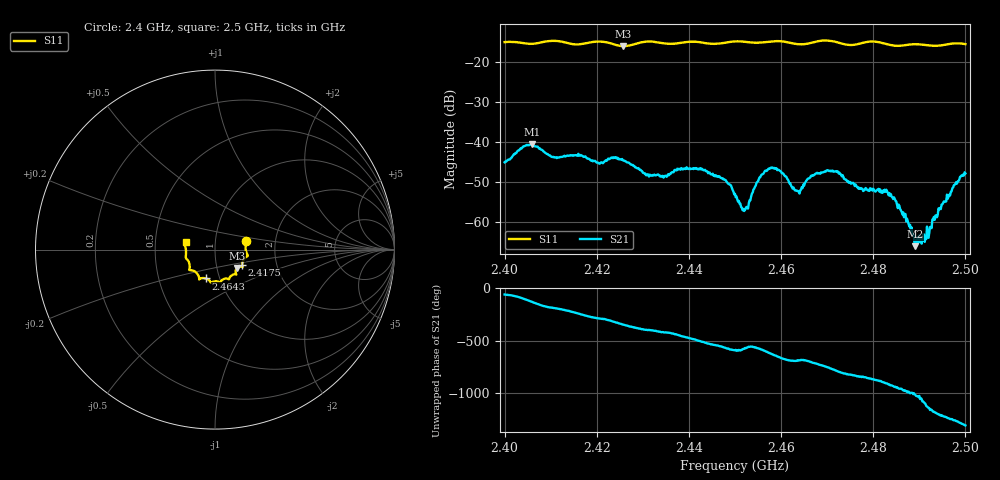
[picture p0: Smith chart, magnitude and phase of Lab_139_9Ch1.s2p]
# Hz S RI R 50
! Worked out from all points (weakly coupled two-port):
!   601 points, 2.4 GHz to 2.5 GHz, reference 50 ohm
!   highest |S21| = -40.56 dB at 2.406 GHz (marker M1); lowest = -66.1 dB at 2.489 GHz (marker M2)
!   lowest |S11| = -15.9 dB at 2.4257 GHz (marker M3), VSWR 1.38, Z = 62.5 - j13.1 ohm
!   |S11| at or under -10 dB: start of sweep to end of sweep
!   S12 and S22 are empty: the file has one direction only
!   S11 on the Smith chart (normalised r, x): 2.4 GHz: 1.41, +0.14; 2.4175 GHz: 1.34, -0.23; 2.4643 GHz: 0.86, -0.29; 2.5 GHz: 0.72, +0.06
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2.4e9  0.173 0.049  0.00296 -0.00475  0 0  0 0
2.406e9  0.1709 0.00158  -0.00586 -0.00732  0 0  0 0
2.410833e9  0.183 -0.035  -0.00637 0.000836  0 0  0 0
2.416667e9  0.1528 -0.074  -0.00252 0.00637  0 0  0 0
2.4175e9  0.1519 -0.0833  -0.00124 0.00653  0 0  0 0
2.425667e9  0.1228 -0.1021  0.00572 0.00149  0 0  0 0
2.433333e9  0.1131 -0.1372  0.00249 -0.00306  0 0  0 0
2.443e9  0.0699 -0.1624  -0.00397 -0.00219  0 0  0 0
2.447833e9  0.0359 -0.1728  -0.003 0.00151  0 0  0 0
2.45e9  0.029 -0.1812  -0.00145 0.00172  0 0  0 0
2.452333e9  0.021 -0.1796  -0.00128 0.000772  0 0  0 0
2.455167e9  0.000497 -0.1768  -0.00284 0.00195  0 0  0 0
2.458e9  -0.0188 -0.1823  -0.000176 0.00473  0 0  0 0
2.464333e9  -0.0497 -0.1609  0.00203 0.00154  0 0  0 0
2.466667e9  -0.0759 -0.1594  0.00368 0.000837  0 0  0 0
2.471833e9  -0.0883 -0.1581  0.00188 -0.00389  0 0  0 0
2.477333e9  -0.1295 -0.1154  -0.00149 -0.00221  0 0  0 0
2.483333e9  -0.1408 -0.09  -0.00205 0.000682  0 0  0 0
2.489e9  -0.1627 -0.0451  0.000192 0.000459  0 0  0 0
2.491667e9  -0.1618 -0.0288  0.000563 -0.00067  0 0  0 0
2.494667e9  -0.163 0.00581  -0.000959 -0.00109  0 0  0 0
2.5e9  -0.164 0.0431  -0.00257 0.00314  0 0  0 0
